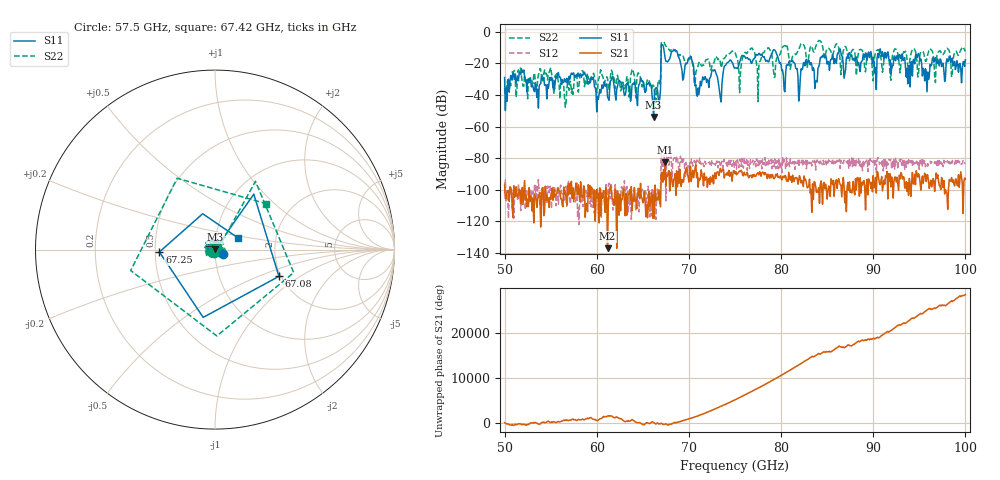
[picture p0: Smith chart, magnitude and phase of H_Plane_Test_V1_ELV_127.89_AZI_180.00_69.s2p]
! 11/27/2026 8:48:02 AM
! C:\ANRITSUVNA\TEMP\TEMP.S2P
! CHANNEL.1
! TR.MEASUREMENT
! RAW.DATA
# HZ S RI R 50.0
! FREQ.HZ  S11RE  S11IM  S21RE  S21IM  S12RE  S12IM  S22RE  S22IM
!; PortSelection: Port_12
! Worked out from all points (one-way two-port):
!   601 points, 50 GHz to 100 GHz, reference 50 ohm
!   highest |S21| = -82.58 dB at 67.42 GHz (marker M1); lowest = -137.0 dB at 61.17 GHz (marker M2)
!   lowest |S11| = -54.0 dB at 66.17 GHz (marker M3), VSWR 1.00, Z = 50.1 + j0.145 ohm
!   |S11| at or under -10 dB: start of sweep to 67 GHz; 67.24 GHz to end of sweep
!   |S22| runs from -47.7 to -5.6 dB; largest |S21 - S12| = 0.00017
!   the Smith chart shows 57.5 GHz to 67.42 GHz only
!   S11 on the Smith chart (normalised r, x): 57.5 GHz: 1.09, -0.05; 67.08 GHz: 1.95, -0.68; 67.25 GHz: 0.53, -0.02; 67.42 GHz: 1.29, +0.17
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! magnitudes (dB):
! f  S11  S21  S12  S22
! 50 GHz  -29.0  -96.9  -102.3  -35.8
! 51.67 GHz  -26.2  -100.6  -99.4  -23.2
! 53.42 GHz  -34.8  -105.8  -97.5  -35.4
! 57.5 GHz  -26.1  -107.5  -102.9  -34.5
! 58.42 GHz  -27.1  -104.0  -106.1  -24.7
! 61.17 GHz  -41.2  -137.0  -104.2  -29.4
! 66.17 GHz  -54.0  -102.9  -99.9  -34.0
! 66.67 GHz  -41.8  -106.4  -102.1  -31.6
! 67.08 GHz  -8.3  -89.3  -85.9  -6.8
! 67.25 GHz  -10.2  -87.2  -85.5  -6.3
! 67.42 GHz  -16.7  -82.6  -83.3  -8.4
! 70.25 GHz  -16.0  -94.7  -80.4  -18.8
! 70.92 GHz  -40.9  -89.3  -81.5  -23.0
! 75 GHz  -23.1  -89.9  -81.4  -13.0
! 79.25 GHz  -11.4  -92.9  -85.5  -29.0
! 80.25 GHz  -27.9  -91.4  -84.0  -9.3
! 83.42 GHz  -24.6  -96.2  -81.7  -10.9
! 91.67 GHz  -16.7  -89.7  -81.0  -15.3
! 93.75 GHz  -33.0  -95.3  -84.5  -21.5
! 94.83 GHz  -14.9  -91.9  -84.2  -28.7
! 95.83 GHz  -38.1  -90.4  -83.5  -16.6
! 100 GHz  -17.8  -93.4  -83.4  -12.6
